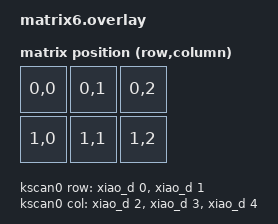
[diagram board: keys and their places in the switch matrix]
#include <dt-bindings/zmk/matrix_transform.h>

/ {
    chosen {
        zmk,kscan = &kscan0;
        zmk,matrix_transform = &default_transform;
    };

    // ダイオードの方向: col2row(列→ダイオード→行 の向きで電流が流れる)
    // 配線時は、各ダイオードのカソード(線が描いてある側)を行(ROW)側に向けてください
    kscan0: kscan_0 {
        compatible = "zmk,kscan-gpio-matrix";
        diode-direction = "col2row";

        // 列(COL)はMCU出力。GPIO_ACTIVE_HIGHのみでOK
        col-gpios
            = <&xiao_d 2 GPIO_ACTIVE_HIGH>
            , <&xiao_d 3 GPIO_ACTIVE_HIGH>
            , <&xiao_d 4 GPIO_ACTIVE_HIGH>
            ;

        // 行(ROW)はMCU入力。プルダウンを併用する
        row-gpios
            = <&xiao_d 0 (GPIO_ACTIVE_HIGH | GPIO_PULL_DOWN)>
            , <&xiao_d 1 (GPIO_ACTIVE_HIGH | GPIO_PULL_DOWN)>
            ;
    };

    default_transform: keymap_transform_0 {
        compatible = "zmk,matrix-transform";
        columns = <3>;
        rows = <2>;

        // 物理配置(2行3列、テンキー風):
        //  1  2  3   <- ROW0 (COL0 COL1 COL2)
        //  4  5  6   <- ROW1 (COL0 COL1 COL2)
        map = <
            RC(0,0) RC(0,1) RC(0,2)
            RC(1,0) RC(1,1) RC(1,2)
        >;
    };
};
